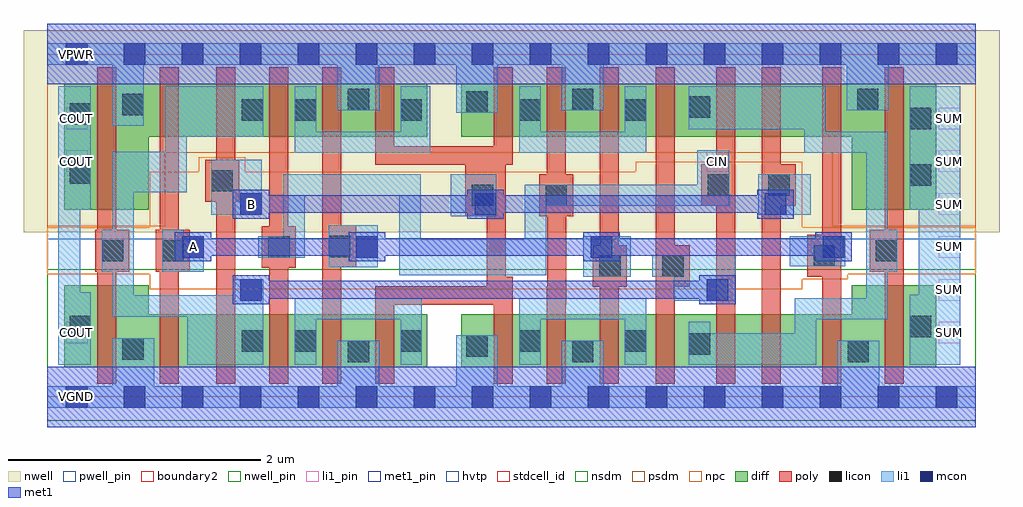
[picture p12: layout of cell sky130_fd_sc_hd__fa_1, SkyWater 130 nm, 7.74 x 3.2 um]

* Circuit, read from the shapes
.subckt sky130_fd_sc_hd__fa_1 A B CIN COUT SUM VGND VNB VPB VPWR
XM1 VGND n1 COUT VNB sky130_fd_pr__nfet_01v8 w=0.65 l=0.15
XM2 n2 A VGND VNB sky130_fd_pr__nfet_01v8 w=0.42 l=0.15
XM3 n1 B n2 VNB sky130_fd_pr__nfet_01v8 w=0.42 l=0.15
XM4 n3 CIN n1 VNB sky130_fd_pr__nfet_01v8 w=0.42 l=0.15
XM5 VGND A n3 VNB sky130_fd_pr__nfet_01v8 w=0.42 l=0.15
XM6 n3 B VGND VNB sky130_fd_pr__nfet_01v8 w=0.42 l=0.15
XM7 n4 B VGND VNB sky130_fd_pr__nfet_01v8 w=0.42 l=0.15
XM8 VGND CIN n4 VNB sky130_fd_pr__nfet_01v8 w=0.42 l=0.15
XM9 n4 A VGND VNB sky130_fd_pr__nfet_01v8 w=0.42 l=0.15
XM10 n5 n1 n4 VNB sky130_fd_pr__nfet_01v8 w=0.42 l=0.15
XM11 n6 CIN n5 VNB sky130_fd_pr__nfet_01v8 w=0.42 l=0.15
XM12 n7 B n6 VNB sky130_fd_pr__nfet_01v8 w=0.42 l=0.15
XM13 VGND A n7 VNB sky130_fd_pr__nfet_01v8 w=0.42 l=0.15
XM14 SUM n5 VGND VNB sky130_fd_pr__nfet_01v8 w=0.65 l=0.15
XM15 VPWR n1 COUT VPB sky130_fd_pr__pfet_01v8_hvt w=1 l=0.15
XM16 n8 A VPWR VPB sky130_fd_pr__pfet_01v8_hvt w=0.42 l=0.15
XM17 n1 B n8 VPB sky130_fd_pr__pfet_01v8_hvt w=0.42 l=0.15
XM18 n9 CIN n1 VPB sky130_fd_pr__pfet_01v8_hvt w=0.42 l=0.15
XM19 VPWR A n9 VPB sky130_fd_pr__pfet_01v8_hvt w=0.42 l=0.15
XM20 n9 B VPWR VPB sky130_fd_pr__pfet_01v8_hvt w=0.42 l=0.15
XM21 n10 B VPWR VPB sky130_fd_pr__pfet_01v8_hvt w=0.42 l=0.15
XM22 VPWR CIN n10 VPB sky130_fd_pr__pfet_01v8_hvt w=0.42 l=0.15
XM23 n10 A VPWR VPB sky130_fd_pr__pfet_01v8_hvt w=0.42 l=0.15
XM24 n5 n1 n10 VPB sky130_fd_pr__pfet_01v8_hvt w=0.42 l=0.15
XM25 n11 CIN n5 VPB sky130_fd_pr__pfet_01v8_hvt w=0.42 l=0.15
XM26 n12 B n11 VPB sky130_fd_pr__pfet_01v8_hvt w=0.42 l=0.15
XM27 VPWR A n12 VPB sky130_fd_pr__pfet_01v8_hvt w=0.42 l=0.15
XM28 SUM n5 VPWR VPB sky130_fd_pr__pfet_01v8_hvt w=1 l=0.15
.ends

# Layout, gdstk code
import gdstk
lib = gdstk.Library(unit=1e-6, precision=1e-09)
def R(c, l, rs):  # rectangles x0, y0, x1, y1
    for r in rs: c.add(gdstk.rectangle(r[:2], r[2:], *l))
def A(c, l, x, y, w, h, nx, ny, dx, dy):  # array of equal rectangles
    R(c, l, [(x+i*dx, y+j*dy, x+i*dx+w, y+j*dy+h) for i in range(nx) for j in range(ny)])
def P(c, l, *ps):  # polygons
    for p in ps: c.add(gdstk.Polygon(p, *l))
nwell_pin = (64, 16)
nwell = (64, 20)
diff = (65, 20)
poly = (66, 20)
licon = (66, 44)
li1_pin = (67, 16)
li1 = (67, 20)
mcon = (67, 44)
met1_pin = (68, 16)
met1 = (68, 20)
hvtp = (78, 44)
stdcell_id = (81, 4)
nsdm = (93, 44)
psdm = (94, 20)
npc = (95, 20)
pwell_pin = (122, 16)
boundary2 = (236, 0)

sky130_fd_sc_hd__fa_1 = lib.new_cell('sky130_fd_sc_hd__fa_1')
R(sky130_fd_sc_hd__fa_1, nwell_pin, [(0.15,2.635,0.32,2.805)])
R(sky130_fd_sc_hd__fa_1, nwell, [(-0.19,1.305,7.55,2.91)])
P(sky130_fd_sc_hd__fa_1, diff, [(7.05,0.885),(6.38,0.885),(6.38,0.655),(3.28,0.655),(3.28,0.235),(7.05,0.235)],
  [(7.05,2.485),(3.28,2.485),(3.28,2.065),(6.38,2.065),(6.38,1.485),(7.05,1.485)],
  [(3.01,0.655),(0.805,0.655),(0.805,0.885),(0.135,0.885),(0.135,0.235),(3.01,0.235)],
  [(3.01,2.485),(0.135,2.485),(0.135,1.485),(0.805,1.485),(0.805,2.065),(3.01,2.065)])
P(sky130_fd_sc_hd__fa_1, poly, [(1.13,1.325),(1.04,1.325),(1.04,2.615),(0.89,2.615),(0.89,1.325),(0.86,1.325),(0.86,0.995),(0.89,0.995),(0.89,0.105),(1.04,0.105),(1.04,0.995),(1.13,0.995)],
  [(0.65,1.325),(0.545,1.325),(0.545,2.615),(0.395,2.615),(0.395,1.325),(0.38,1.325),(0.38,0.995),(0.395,0.995),(0.395,0.105),(0.545,0.105),(0.545,0.995),(0.65,0.995)],
  [(1.52,1.88),(1.49,1.88),(1.49,2.615),(1.34,2.615),(1.34,1.88),(1.25,1.88),(1.25,1.55),(1.34,1.55),(1.34,0.105),(1.49,0.105),(1.49,1.55),(1.52,1.55)],
  [(1.97,1.355),(1.91,1.355),(1.91,2.615),(1.76,2.615),(1.76,1.355),(1.7,1.355),(1.7,1.025),(1.76,1.025),(1.76,0.105),(1.91,0.105),(1.91,1.025),(1.97,1.025)],
  [(2.45,1.36),(2.33,1.36),(2.33,2.615),(2.18,2.615),(2.18,0.105),(2.33,0.105),(2.33,1.03),(2.45,1.03)],
  [(3.69,0.955),(3.635,0.955),(3.635,1.84),(3.69,1.84),(3.69,2.615),(3.54,2.615),(3.54,1.99),(2.75,1.99),(2.75,2.615),(2.6,2.615),(2.6,1.84),(3.315,1.84),(3.315,1.435),(3.485,1.435),(3.485,0.88),(2.6,0.88),(2.6,0.105),(2.75,0.105),(2.75,0.73),(3.54,0.73),(3.54,0.105),(3.69,0.105)],
  [(4.17,1.765),(4.11,1.765),(4.11,2.615),(3.96,2.615),(3.96,1.765),(3.9,1.765),(3.9,1.435),(3.965,1.435),(3.965,0.88),(3.96,0.88),(3.96,0.105),(4.11,0.105),(4.11,0.73),(4.115,0.73),(4.115,1.435),(4.17,1.435)],
  [(4.595,1.205),(4.53,1.205),(4.53,2.615),(4.38,2.615),(4.38,1.205),(4.325,1.205),(4.325,0.875),(4.38,0.875),(4.38,0.105),(4.53,0.105),(4.53,0.875),(4.595,0.875)],
  [(5.095,1.205),(4.975,1.205),(4.975,2.615),(4.825,2.615),(4.825,0.105),(4.975,0.105),(4.975,0.875),(5.095,0.875)],
  [(5.455,2.615),(5.305,2.615),(5.305,1.845),(5.185,1.845),(5.185,1.515),(5.305,1.515),(5.305,0.105),(5.455,0.105)],
  [(5.935,1.845),(5.815,1.845),(5.815,2.615),(5.665,2.615),(5.665,0.105),(5.815,0.105),(5.815,1.515),(5.935,1.515)],
  [(6.295,2.615),(6.145,2.615),(6.145,1.285),(6.025,1.285),(6.025,0.955),(6.145,0.955),(6.145,0.105),(6.295,0.105)],
  [(6.79,2.615),(6.64,2.615),(6.64,1.325),(6.52,1.325),(6.52,0.995),(6.64,0.995),(6.64,0.105),(6.79,0.105)])
R(sky130_fd_sc_hd__fa_1, licon, [(2.38,0.275,2.55,0.445), (4.16,0.275,4.33,0.445), (6.345,0.275,6.515,0.445), (0.595,0.295,0.765,0.465), (3.32,0.32,3.49,0.49), (5.085,0.335,5.255,0.505), (1.54,0.36,1.71,0.53), (1.96,0.36,2.13,0.53), (2.8,0.36,2.97,0.53), (3.74,0.36,3.91,0.53), (4.58,0.36,4.75,0.53), (0.175,0.475,0.345,0.645), (6.84,0.475,7.01,0.645), (4.375,0.955,4.545,1.125), (4.875,0.955,5.045,1.125), (6.075,1.035,6.245,1.205), (0.43,1.075,0.6,1.245), (0.91,1.075,1.08,1.245), (6.57,1.075,6.74,1.245), (1.75,1.105,1.92,1.275), (2.23,1.11,2.4,1.28), (3.365,1.515,3.535,1.685), (3.95,1.515,4.12,1.685), (5.235,1.595,5.405,1.765), (5.715,1.595,5.885,1.765), (1.3,1.63,1.47,1.8), (6.84,1.675,7.01,1.845), (0.175,1.69,0.345,1.86), (6.84,2.125,7.01,2.295), (0.175,2.16,0.345,2.33), (1.54,2.19,1.71,2.36), (1.96,2.19,2.13,2.36), (2.8,2.19,2.97,2.36), (3.74,2.19,3.91,2.36), (4.58,2.19,4.75,2.36), (5.085,2.215,5.255,2.385), (0.595,2.235,0.765,2.405), (3.32,2.255,3.49,2.425), (2.38,2.275,2.55,2.445), (4.16,2.275,4.33,2.445), (6.42,2.275,6.59,2.445)])
A(sky130_fd_sc_hd__fa_1, li1_pin, 7.07, 0.425, 0.17, 0.17, 1, 6, 0, 0.34)
R(sky130_fd_sc_hd__fa_1, li1_pin, [(0.15,-0.085,0.32,0.085), (0.15,0.425,0.32,0.595), (1.07,1.105,1.24,1.275), (1.53,1.445,1.7,1.615), (0.15,1.785,0.32,1.955), (5.23,1.785,5.4,1.955), (0.15,2.125,0.32,2.295), (0.15,2.635,0.32,2.805)])
R(sky130_fd_sc_hd__fa_1, li1, [(4.25,0.955,4.625,1.275), (2.23,1.03,2.62,1.36), (5.885,1.035,6.325,1.275), (3.2,1.435,3.56,1.765), (1.3,1.445,1.7,1.88), (5.635,1.445,6.055,1.765)])
P(sky130_fd_sc_hd__fa_1, li1, [(1.24,1.275),(1.08,1.275),(1.08,1.325),(0.91,1.325),(0.91,0.995),(1.24,0.995)],
  [(0.345,0.83),(0.26,0.83),(0.26,1.485),(0.345,1.485),(0.345,2.465),(0.085,2.465),(0.085,0.255),(0.345,0.255)],
  [(7.36,2.805),(0,2.805),(0,2.635),(0.515,2.635),(0.515,2.15),(0.765,2.15),(0.765,2.635),(2.3,2.635),(2.3,2.275),(2.63,2.275),(2.63,2.635),(3.24,2.635),(3.24,2.255),(3.57,2.255),(3.57,2.635),(4.08,2.635),(4.08,2.275),(4.41,2.275),(4.41,2.635),(6.34,2.635),(6.34,2.275),(6.67,2.275),(6.67,2.635),(7.36,2.635)],
  [(7.24,2.465),(6.84,2.465),(6.84,1.485),(6.91,1.485),(6.91,0.81),(6.84,0.81),(6.84,0.255),(7.24,0.255)],
  [(6.74,1.325),(6.665,1.325),(6.665,2.105),(6.17,2.105),(6.17,2.465),(5.085,2.465),(5.085,2.125),(6,2.125),(6,1.935),(6.495,1.935),(6.495,0.785),(5.925,0.785),(5.925,0.505),(5.255,0.505),(5.255,0.595),(5.085,0.595),(5.085,0.255),(6.095,0.255),(6.095,0.615),(6.665,0.615),(6.665,0.995),(6.74,0.995)],
  [(1.71,0.935),(1.47,0.935),(1.47,0.805),(0.685,0.805),(0.685,1.625),(1.105,1.625),(1.105,2.065),(1.71,2.065),(1.71,2.465),(0.935,2.465),(0.935,1.945),(0.515,1.945),(0.515,1.325),(0.43,1.325),(0.43,0.995),(0.515,0.995),(0.515,0.635),(1.11,0.635),(1.11,0.255),(1.71,0.255)],
  [(5.46,1.125),(4.795,1.125),(4.795,0.955),(4.965,0.955),(4.965,0.765),(5.46,0.765)],
  [(5.405,1.955),(5.155,1.955),(5.155,1.685),(3.785,1.685),(3.785,1.25),(2.96,1.25),(2.96,1.765),(1.87,1.765),(1.87,1.275),(1.67,1.275),(1.67,1.105),(2.04,1.105),(2.04,1.595),(2.79,1.595),(2.79,0.965),(3.955,0.965),(3.955,1.515),(5.405,1.515)],
  [(4.75,0.785),(3.74,0.785),(3.74,0.255),(3.91,0.255),(3.91,0.615),(4.58,0.615),(4.58,0.255),(4.75,0.255)],
  [(4.75,2.465),(4.58,2.465),(4.58,2.105),(3.91,2.105),(3.91,2.465),(3.74,2.465),(3.74,1.935),(4.75,1.935)],
  [(3.035,2.465),(2.8,2.465),(2.8,2.105),(2.13,2.105),(2.13,2.465),(1.96,2.465),(1.96,1.935),(3.035,1.935)],
  [(2.97,0.785),(1.96,0.785),(1.96,0.255),(2.13,0.255),(2.13,0.615),(2.8,0.615),(2.8,0.255),(2.97,0.255)],
  [(7.36,0.085),(6.595,0.085),(6.595,0.445),(6.265,0.445),(6.265,0.085),(4.41,0.085),(4.41,0.445),(4.08,0.445),(4.08,0.085),(3.57,0.085),(3.57,0.49),(3.24,0.49),(3.24,0.085),(2.63,0.085),(2.63,0.445),(2.3,0.445),(2.3,0.085),(0.845,0.085),(0.845,0.465),(0.515,0.465),(0.515,0.085),(0,0.085),(0,-0.085),(7.36,-0.085)])
A(sky130_fd_sc_hd__fa_1, mcon, 0.145, -0.085, 0.17, 0.17, 16, 2, 0.46, 2.72)
R(sky130_fd_sc_hd__fa_1, mcon, [(1.53,0.765,1.7,0.935), (5.23,0.765,5.4,0.935), (1.07,1.105,1.24,1.275), (2.45,1.105,2.62,1.275), (4.31,1.105,4.48,1.275), (6.15,1.105,6.32,1.275), (1.53,1.445,1.7,1.615), (3.39,1.445,3.56,1.615), (5.69,1.445,5.86,1.615)])
R(sky130_fd_sc_hd__fa_1, met1_pin, [(0.15,-0.085,0.32,0.085), (0.15,2.635,0.32,2.805)])
P(sky130_fd_sc_hd__fa_1, met1, [(5.46,0.965),(5.17,0.965),(5.17,0.92),(1.76,0.92),(1.76,0.965),(1.47,0.965),(1.47,0.735),(1.76,0.735),(1.76,0.78),(5.17,0.78),(5.17,0.735),(5.46,0.735)],
  [(5.92,1.645),(5.63,1.645),(5.63,1.6),(3.62,1.6),(3.62,1.645),(3.33,1.645),(3.33,1.6),(1.76,1.6),(1.76,1.645),(1.47,1.645),(1.47,1.415),(1.76,1.415),(1.76,1.46),(3.33,1.46),(3.33,1.415),(3.62,1.415),(3.62,1.46),(5.63,1.46),(5.63,1.415),(5.92,1.415)],
  [(6.38,1.305),(6.09,1.305),(6.09,1.26),(4.54,1.26),(4.54,1.305),(4.25,1.305),(4.25,1.26),(2.68,1.26),(2.68,1.305),(2.39,1.305),(2.39,1.26),(1.3,1.26),(1.3,1.305),(1.01,1.305),(1.01,1.075),(1.3,1.075),(1.3,1.12),(2.39,1.12),(2.39,1.075),(2.68,1.075),(2.68,1.12),(4.25,1.12),(4.25,1.075),(4.54,1.075),(4.54,1.12),(6.09,1.12),(6.09,1.075),(6.38,1.075)])
R(sky130_fd_sc_hd__fa_1, hvtp, [(0,1.25,7.36,2.72)])
R(sky130_fd_sc_hd__fa_1, stdcell_id, [(0,0,7.36,2.72)])
R(sky130_fd_sc_hd__fa_1, nsdm, [(0,-0.19,7.36,1.015)])
P(sky130_fd_sc_hd__fa_1, psdm, [(7.36,2.91),(0,2.91),(0,1.355),(0.935,1.355),(0.935,1.935),(6.225,1.935),(6.225,1.355),(7.36,1.355)])
P(sky130_fd_sc_hd__fa_1, npc, [(7.36,1.345),(5.985,1.345),(5.985,1.865),(4.665,1.865),(4.665,1.785),(1.57,1.785),(1.57,1.9),(1.2,1.9),(1.2,1.785),(0.81,1.785),(0.81,1.345),(0,1.345),(0,0.975),(0.81,0.975),(0.81,0.855),(5.985,0.855),(5.985,0.935),(6.345,0.935),(6.345,0.975),(7.36,0.975)])
R(sky130_fd_sc_hd__fa_1, pwell_pin, [(0.15,-0.085,0.32,0.085)])
R(sky130_fd_sc_hd__fa_1, boundary2, [(0,0,7.36,2.72)])
sky130_fd_sc_hd__fa_1.add(gdstk.FlexPath([(0,2.72),(7.36,2.72)], 0.48, ends="flush", simple_path=True, layer=68, datatype=20))  # met1
sky130_fd_sc_hd__fa_1.add(gdstk.FlexPath([(0,0),(7.36,0)], 0.48, ends="flush", simple_path=True, layer=68, datatype=20))  # met1
sky130_fd_sc_hd__fa_1.add(gdstk.Label('COUT', (0.23,2.21), layer=67, texttype=5))
sky130_fd_sc_hd__fa_1.add(gdstk.Label('COUT', (0.23,1.87), layer=67, texttype=5))
sky130_fd_sc_hd__fa_1.add(gdstk.Label('COUT', (0.23,0.51), layer=67, texttype=5))
sky130_fd_sc_hd__fa_1.add(gdstk.Label('CIN', (5.315,1.87), layer=67, texttype=5))
sky130_fd_sc_hd__fa_1.add(gdstk.Label('VGND', (0.23,0), layer=67, texttype=5))
sky130_fd_sc_hd__fa_1.add(gdstk.Label('VPWR', (0.23,2.72), layer=67, texttype=5))
sky130_fd_sc_hd__fa_1.add(gdstk.Label('SUM', (7.15,0.51), layer=67, texttype=5))
sky130_fd_sc_hd__fa_1.add(gdstk.Label('SUM', (7.15,0.85), layer=67, texttype=5))
sky130_fd_sc_hd__fa_1.add(gdstk.Label('SUM', (7.15,1.19), layer=67, texttype=5))
sky130_fd_sc_hd__fa_1.add(gdstk.Label('SUM', (7.15,1.53), layer=67, texttype=5))
sky130_fd_sc_hd__fa_1.add(gdstk.Label('SUM', (7.15,1.87), layer=67, texttype=5))
sky130_fd_sc_hd__fa_1.add(gdstk.Label('SUM', (7.15,2.21), layer=67, texttype=5))
sky130_fd_sc_hd__fa_1.add(gdstk.Label('A', (1.155,1.19), layer=67, texttype=5))
sky130_fd_sc_hd__fa_1.add(gdstk.Label('B', (1.615,1.53), layer=67, texttype=5))
sky130_fd_sc_hd__fa_1.add(gdstk.Label('VPB', (0.23,2.72), layer=64, texttype=5))
sky130_fd_sc_hd__fa_1.add(gdstk.Label('VNB', (0.23,0), layer=64, texttype=59))
sky130_fd_sc_hd__fa_1.add(gdstk.Label('VGND', (0.23,0), layer=68, texttype=5))
sky130_fd_sc_hd__fa_1.add(gdstk.Label('VPWR', (0.23,2.72), layer=68, texttype=5))
sky130_fd_sc_hd__fa_1.add(gdstk.Label('fa_1', (0,0), layer=83, texttype=44))

lib.write_gds('sky130_fd_sc_hd__fa_1.gds')
